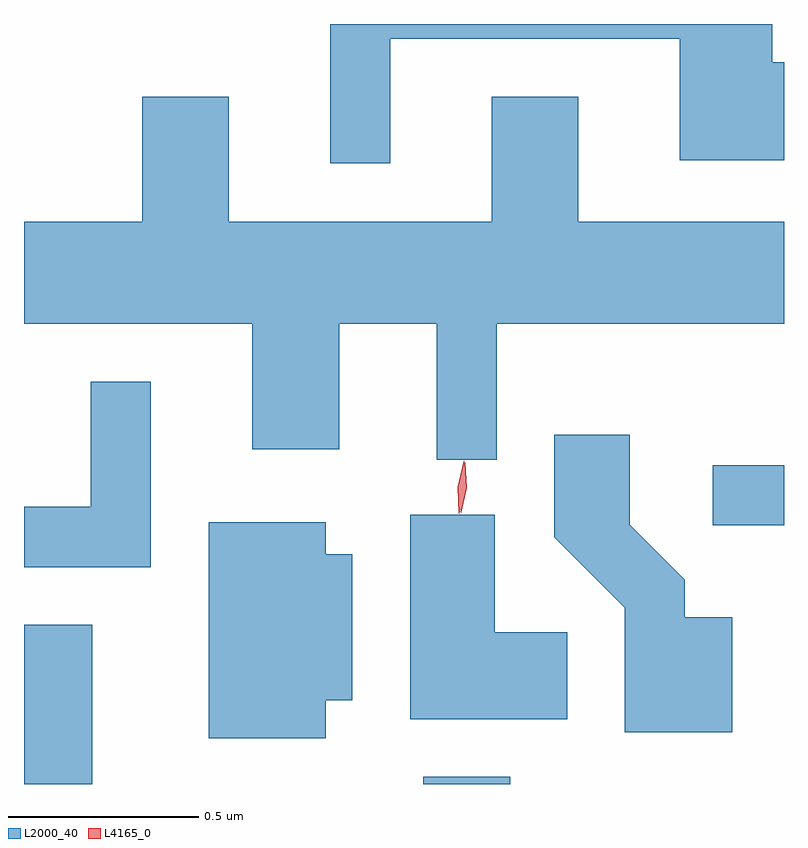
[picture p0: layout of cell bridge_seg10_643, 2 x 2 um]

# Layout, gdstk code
import gdstk
lib = gdstk.Library(unit=1e-6, precision=1e-09)
def R(c, l, rs):  # rectangles x0, y0, x1, y1
    for r in rs: c.add(gdstk.rectangle(r[:2], r[2:], *l))
def P(c, l, *ps):  # polygons
    for p in ps: c.add(gdstk.Polygon(p, *l))
L2000_40 = (2000, 40)
L4165_0 = (4165, 0)

bridge_seg10_643 = lib.new_cell('bridge_seg10_643')
R(bridge_seg10_643, L2000_40, [(677.14,2146.005,677.319,2146.424), (678.191,2146.005,678.419,2146.024), (678.953,2146.686,679.14,2146.844)])
P(bridge_seg10_643, L2000_40, [(678.104,2147.966),(678.866,2147.966),(678.866,2147.646),(679.14,2147.646),(679.14,2147.904),(679.109,2147.904),(679.109,2148.005),(677.946,2148.005),(677.946,2147.638),(678.104,2147.638)],
  [(678.384,2147.216),(679.14,2147.216),(679.14,2147.484),(678.599,2147.484),(678.599,2147.814),(678.371,2147.814),(678.371,2147.484),(677.679,2147.484),(677.679,2147.814),(677.451,2147.814),(677.451,2147.484),(677.14,2147.484),(677.14,2147.216),(677.741,2147.216),(677.741,2146.886),(677.969,2146.886),(677.969,2147.216),(678.226,2147.216),(678.226,2146.858),(678.384,2146.858)],
  [(677.474,2147.063),(677.316,2147.063),(677.316,2146.734),(677.14,2146.734),(677.14,2146.576),(677.474,2146.576)],
  [(679.004,2146.444),(678.879,2146.444),(678.879,2146.542),(678.734,2146.687),(678.734,2146.924),(678.536,2146.924),(678.536,2146.654),(678.721,2146.469),(678.721,2146.141),(679.004,2146.141)],
  [(678.569,2146.404),(678.379,2146.404),(678.379,2146.714),(678.156,2146.714),(678.156,2146.176),(678.569,2146.176)],
  [(677.934,2146.226),(678.004,2146.226),(678.004,2146.609),(677.934,2146.609),(677.934,2146.694),(677.626,2146.694),(677.626,2146.126),(677.934,2146.126)])
P(bridge_seg10_643, L4165_0, [(678.285,2146.716),(678.284,2146.717),(678.282,2146.786),(678.297,2146.854),(678.298,2146.855),(678.298,2146.854),(678.301,2146.785),(678.285,2146.717)],
  [(678.29,2146.719),(678.289,2146.72),(678.286,2146.786),(678.3,2146.851),(678.301,2146.851),(678.301,2146.851),(678.305,2146.784),(678.29,2146.72)])

lib.write_gds('bridge_seg10_643.gds')
